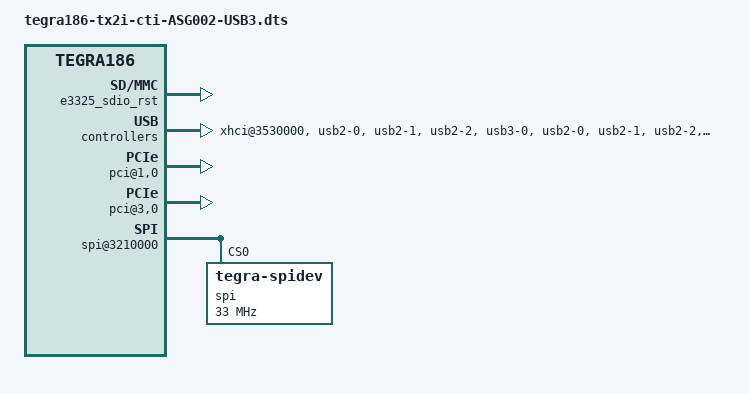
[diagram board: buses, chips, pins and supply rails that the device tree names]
#include "tegra186-tx2i-cti-base.dts"

/{
    nvidia,dtsfilename = "tegra186-tx2i-cti-ASG002-USB3.dts";

    gpio@2200000 {
    /*enable this to enabled PCIe Controller #2*/
        pcie0_lane2_mux {
             status = "disable";
        };
    /******************************************/
    /*enable these two to enable USB3 Port 0*/
        e3325_sdio_rst {
           status = "okay";
        };
        e3325_lane0_mux {
            status = "okay";
        };
    /******************************************/

    };



    xhci@3530000 {
        status = "okay";
        phys = <&{/xusb_padctl@3520000/pads/usb2/lanes/usb2-0}>,
            <&{/xusb_padctl@3520000/pads/usb2/lanes/usb2-1}>,
            <&{/xusb_padctl@3520000/pads/usb2/lanes/usb2-2}>,
            <&{/xusb_padctl@3520000/pads/usb3/lanes/usb3-0}>;
        phy-names = "usb2-0", "usb2-1", "usb2-2", "usb3-0";
    };


   xusb_padctl@3520000 {
        pads {
            usb2 {
                lanes {
                    usb2-0 {
                        status = "okay";
                    };
                    usb2-1 {
                        status = "okay";
                    };
                    usb2-2 {
                        status = "okay";
                    };
                };
            };
            usb3 {
                lanes {
                    usb3-0 {
                        status = "okay";
                    };
                    usb3-1 {
                        status = "disabled";
                    };
                    usb3-2 {
                        status = "disabled";
                    };
                };
            };
        };
        ports {
            usb2-0 {
                status = "okay";
            };
            usb2-1 {
                status = "okay";
            };

            usb2-2 {
                status = "okay";
            };

            usb3-0 {
                nvidia,usb2-companion = <1>;
                status = "okay";
            };
            usb3-1 {
                nvidia,usb2-companion = <0>;
                status = "disabled";
            };
            usb3-2 {
                nvidia,usb2-companion = <2>;
                status = "disabled";
            };
        };
    };
    pinctrl@3520000 {
        status = "okay";
           pinmux {
            usb2-port0 {
                status = "okay";
            };
            usb2-port1 {
                status = "okay";
            };

            usb2-port2 {
                status = "okay";
            };

            usb3-port0 {
                status = "okay";
            };

            usb3-port1 {
                status = "disabled";
            };

            usb3-port2 {
                status = "disabled";
            };
        };
    };
    pcie-controller@10003000 {
        pci@1,0 {
            nvidia,num-lanes = <1>;
            status = "okay";
        };
        pci@2,0 {
            nvidia,num-lanes = <0>;
            status = "disabled";
        };
        pci@3,0 {
            nvidia,num-lanes = <1>;
            status = "okay";
        };
    };
	
	spi@3210000 {
		status = "okay";
		spi@0 {
			compatible = "tegra-spidev";
			reg = <0x0>;
			spi-max-frequency = <33000000>;
			controller-data {
				nvidia,enable-hw-based-cs;
				nvidia,rx-clk-tap-delay = <0x8>;
				nvidia,tx-clk-tap-delay = <0x16>;
			};
		};
	};


};
